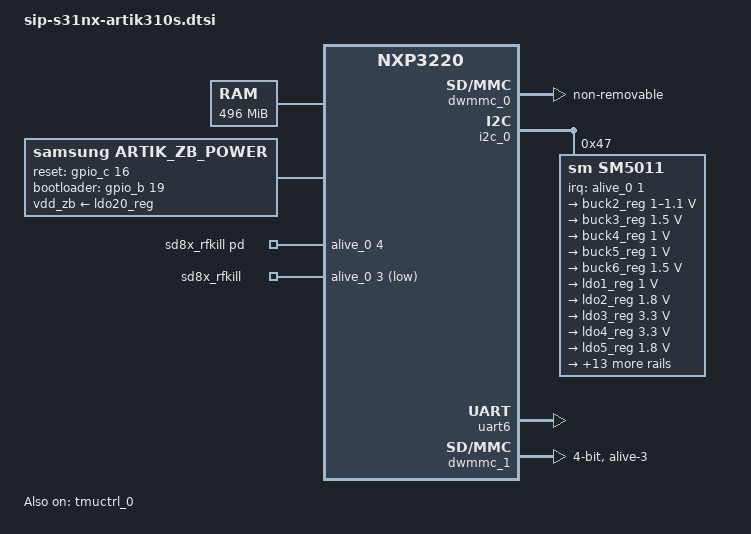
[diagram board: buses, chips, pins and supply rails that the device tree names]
// SPDX-License-Identifier: (GPL-2.0+ OR MIT)
/*
 * Copyright (C) 2018  Nexell Co., Ltd.
 * Author: JungHyun, Kim <jhkim@nexell.co.kr>
 */

#include "sip-s31nx.dtsi"

/ {
	compatible = "samsung,artik310s", "nexell,nxp3220";

	memory@40000000 {
		device_type = "memory";
		reg = <0x40000000 0x1f000000>;
	};

	thermal-zones {
		cpu_thermal: cpu-thermal {
			thermal-sensors = <&tmuctrl_0>;
			polling-delay-passive = <1000>;
			polling-delay = <1000>;
			trips {
				cpu_alert0: cpu-alert-0 {
					temperature = <90000>;
					hysteresis = <0>;
					type = "passive";
				};
				cpu_alert1: cpu-alert-1 {
					temperature = <100000>;
					hysteresis = <0>;
					type = "passive";
				};
				cpu_alert2: cpu-alert-2 {
					temperature = <110000>;
					hysteresis = <0>;
					type = "passive";
				};
				cpu-crit-0 {
					temperature = <115000>;
					hysteresis = <0>;
					type = "critical";
				};
			};
		};
	};

	artik_zb_power {
		compatible = "samsung,artik_zb_power";
		vdd_zb-supply = <&ldo20_reg>;     /* PVDD_LDO20_3P3 */
		reset-gpio = <&gpio_c 16 0>;      /* AP_ZB_RSTn = GPC16 */
		bootloader-gpio = <&gpio_b 19 0>; /* AP_ZIG_RBI = GPB19 */
		status = "okay";
	};

	sd8x_rfkill: sd8x-rfkill {
		 compatible = "mrvl,sd8x-rfkill";
		 sd-host = <&dwmmc_1>;
		 pd-gpio = <&alive_0 4 0>; /* AliveGPIO4=AP_COMBO_PDN output*/
		 gpios = <&alive_0 3 1>; /* AliveGPIO3=COMBE_HOST_WAKE, input */
		 vdd_bt_wlna_io_3p3-supply = <&ldo16_reg>;  /* PVDD_LDO16_3P3 */
		 vdd_bt_wlna_2p2-supply = <&ldo17_reg>;     /* PVDD_LDO17_2P2 */
		 vdd_bt_wlna_1p8-supply = <&ldo18_reg>;     /* PVDD_LDO18_1P8 */
		 status = "okay";
	};

	sd8xxx-wlan {
		 drvdbg  = <0x37>;
		 drv_mode = <0x5>;
		 cfg80211_wext = <0xf>;
		 sta_name = "wlan";
		 wfd_name = "p2p";
		 max_vir_bss = <1>;
		 cal_data_cfg = "mrvl/WlanCalData_ext.conf";
		 fw_name = "mrvl/sdsd8977_combo_v2.bin";
		 reg_alpha2 = "US";
		 p2p_enh = <1>;
		 inact_tmo = <300>;
		 txpwrlimit_cfg = "mrvl/txpwrlimit_cfg.bin";
	};

	sd8xxx-bt {
		 init_cfg = "mrvl/bt_init_cfg.conf";
		 cal_cfg = "mrvl/bt_cal_data.conf";
	};
};

&cpu0 {
	cpu-supply = <&buck2_reg>;
};

&cpu0_opp_table {
	opp-0 {
		opp-hz = /bits/ 64 <100000000>;
		opp-microvolt = <1100000>;
	};
	opp-1 {
		opp-hz = /bits/ 64 <200000000>;
		opp-microvolt = <1100000>;
	};
	opp-2 {
		opp-hz = /bits/ 64 <300000000>;
		opp-microvolt = <1100000>;
	};
	opp-3 {
		opp-hz = /bits/ 64 <400000000>;
		opp-microvolt = <1100000>;
	};
	opp-4 {
		opp-hz = /bits/ 64 <500000000>;
		opp-microvolt = <1100000>;
	};
	opp-5 {
		opp-hz = /bits/ 64 <600000000>;
		opp-microvolt = <1100000>;
	};
	opp-6 {
		opp-hz = /bits/ 64 <700000000>;
		opp-microvolt = <1100000>;
	};
	opp-7 {
		opp-hz = /bits/ 64 <800000000>;
		opp-microvolt = <1100000>;
	};
	opp-8 {
		opp-hz = /bits/ 64 <900000000>;
		opp-microvolt = <1100000>;
	};
	opp-9 {
		opp-hz = /bits/ 64 <1000000000>;
		opp-microvolt = <1100000>;
	};
};

&dwmmc_0 {
	cap-mmc-highspeed;
	non-removable;
	mmc-ddr-3_3v;
	nexell,drive_shift = <0x04>;
	nexell,sample_shift = <0x04>;
	card-detect-delay = <200>;
	disable-wp;
	status = "okay";
};

&i2c_0 {
	status = "okay";
	#address-cells = <1>;
	#size-cells = <0>;

	sm5011: sm5011-pmic@47 {
		compatible = "sm,sm5011";
		interrupt-parent = <&alive_0>;
		interrupts = <1 IRQ_TYPE_NONE>;
		pinctrl-names = "default";
		pinctrl-0 = <&pmic_irq>;
		reg = <0x47>;

		voltage-regulators {
			buck2_reg: BUCK2 {
				regulator-name = "VDD_CPU_1P0";
				regulator-min-microvolt = <1000000>;
				regulator-max-microvolt = <1100000>;
				regulator-always-on;
				regulator-boot-on;
			};

			buck3_reg: BUCK3 {
				regulator-name = "VDD_DDRIO_1P5";
				regulator-min-microvolt = <1500000>;
				regulator-max-microvolt = <1500000>;
				regulator-always-on;
				regulator-boot-on;
			};

			buck4_reg: BUCK4 {
				regulator-name = "VDD_DDR_1P0";
				regulator-min-microvolt = <1000000>;
				regulator-max-microvolt = <1000000>;
				regulator-always-on;
				regulator-boot-on;
			};

			buck5_reg: BUCK5 {
				regulator-name = "VDD_CORE_1P0";
				regulator-min-microvolt = <1000000>;
				regulator-max-microvolt = <1000000>;
				regulator-always-on;
				regulator-boot-on;
			};

			buck6_reg: BUCK6 {
				regulator-name = "VDD_DDR_1P5";
				regulator-min-microvolt = <1500000>;
				regulator-max-microvolt = <1500000>;
				regulator-always-on;
				regulator-boot-on;
			};

			ldo1_reg: LDO1 {
				regulator-name = "VDD_PLL0_1P0";
				regulator-min-microvolt = <1000000>;
				regulator-max-microvolt = <1000000>;
				regulator-always-on;
				regulator-boot-on;
			};

			ldo2_reg: LDO2 {
				regulator-name = "VDD_PLL0_1P8";
				regulator-min-microvolt = <1800000>;
				regulator-max-microvolt = <1800000>;
				regulator-always-on;
				regulator-boot-on;
			};

			ldo3_reg: LDO3 {
				regulator-name = "VDD_EMMC_IO_3P3";
				regulator-min-microvolt = <3300000>;
				regulator-max-microvolt = <3300000>;
				regulator-always-on;
				regulator-boot-on;
			};

			ldo4_reg: LDO4 {
				regulator-name = "VDD_ALIVE_3P3";
				regulator-min-microvolt = <3300000>;
				regulator-max-microvolt = <3300000>;
				regulator-always-on;
				regulator-boot-on;
			};

			ldo5_reg: LDO5 {
				regulator-name = "VDD_ALIVE_1P8";
				regulator-min-microvolt = <1800000>;
				regulator-max-microvolt = <1800000>;
				regulator-always-on;
				regulator-boot-on;
			};

			ldo6_reg: LDO6 {
				regulator-name = "VDD_ALIVE_1P0";
				regulator-min-microvolt = <1000000>;
				regulator-max-microvolt = <1000000>;
				regulator-always-on;
				regulator-boot-on;
			};

			ldo7_reg: LDO7 {
				regulator-name = "VDD_EFUSE_1P5";
				regulator-min-microvolt = <1500000>;
				regulator-max-microvolt = <1500000>;
			};

			ldo9_reg: LDO9 {
				regulator-name = "VDD_USB_1P0";
				regulator-min-microvolt = <1000000>;
				regulator-max-microvolt = <1000000>;
				regulator-always-on;
				regulator-boot-on;
			};

			ldo10_reg: LDO10 {
				regulator-name = "VDD_USB_1P8";
				regulator-min-microvolt = <1800000>;
				regulator-max-microvolt = <1800000>;
				regulator-always-on;
				regulator-boot-on;
			};

			ldo11_reg: LDO11 {
				regulator-name = "VDD_USB_3P3";
				regulator-min-microvolt = <3300000>;
				regulator-max-microvolt = <3300000>;
				regulator-always-on;
				regulator-boot-on;
			};

			ldo12_reg: LDO12 {
				regulator-name = "VDD_LDO12_1P8";
				regulator-min-microvolt = <1800000>;
				regulator-max-microvolt = <1800000>;
				regulator-always-on;
				regulator-boot-on;
			};

			ldo13_reg: LDO13 {
				regulator-name = "VDD_LDO13_3P3";
				regulator-min-microvolt = <3300000>;
				regulator-max-microvolt = <3300000>;
				regulator-always-on;
				regulator-boot-on;
			};

			ldo14_reg: LDO14 {
				regulator-name = "VDD_MM_1P0_AP";
				regulator-min-microvolt = <1000000>;
				regulator-max-microvolt = <1000000>;
				regulator-always-on;
				regulator-boot-on;
			};

			ldo15_reg: LDO15 {
				regulator-name = "VDD_DDRPLL_1P8_AP";
				regulator-min-microvolt = <1800000>;
				regulator-max-microvolt = <1800000>;
				regulator-always-on;
				regulator-boot-on;
			};

			ldo16_reg: LDO16 {
				regulator-name = "VDD_BT_WLAN_IO_3P3";
				regulator-min-microvolt = <3300000>;
				regulator-max-microvolt = <3300000>;
			};

			ldo17_reg: LDO17 {
				regulator-name = "VDD_BT_WLAN_2P2";
				regulator-min-microvolt = <2200000>;
				regulator-max-microvolt = <2200000>;
			};

			ldo18_reg: LDO18 {
				regulator-name = "VDD_BT_WLAN_1P8";
				regulator-min-microvolt = <1800000>;
				regulator-max-microvolt = <1800000>;
			};

			ldo20_reg: LDO20 {
				regulator-name = "VDD_ZB_3P3";
				regulator-min-microvolt = <3300000>;
				regulator-max-microvolt = <3300000>;
			};
		};
	};
};

&pinctrl_0 {
	pmic_irq: sm5011-irq {
		nexell,pins = "alive-1";
		nexell,pin-function = <NX_PIN_FUNC0>;
		nexell,pin-pull = <NX_PIN_PULL_NONE>;
		nexell,pin-strength = <NX_PIN_STR0>;
	};

	cfg_wlanhostwake: cfg-wlanhostwake {
		nexell,pins = "alive-3";
		nexell,pin-function = <NX_PIN_FUNC0>;
		nexell,pin-pull = <NX_PIN_PULL_UP>;
		nexell,pin-strength = <NX_PIN_STR0>;
	};
};

&tmuctrl_0 {
	status = "okay";
};

&uart6 {
	status = "okay";
	pinctrl-0 = <&uart6_bus &uart6_hflow>;
};

&dwmmc_1 {
	status = "okay";
	num-slots = <1>;
	bus-width = <4>;
	cap-sd-highspeed;

	broken-cd;
	clock-frequency = <200000000>;
	supports-detect-complete;

	nexell,drive_shift = <0x2>;
	nexell,sample_shift = <0x2>;

	pinctrl-names = "default";
	pinctrl-0 = <&mmc1_clk &mmc1_cmd &mmc1_bus4 &cfg_wlanhostwake>;
};
